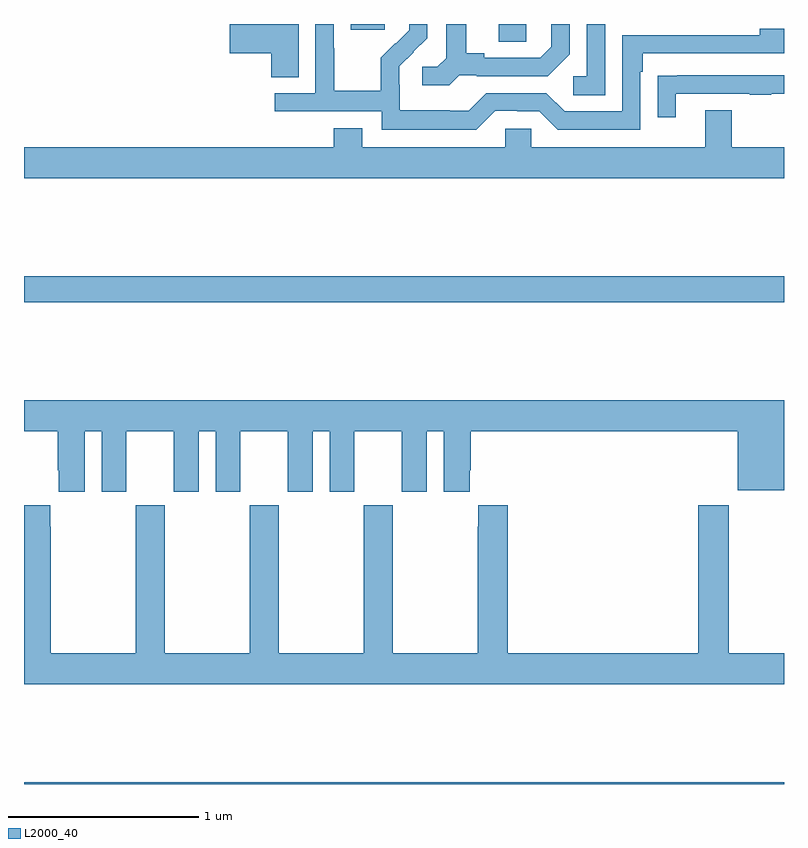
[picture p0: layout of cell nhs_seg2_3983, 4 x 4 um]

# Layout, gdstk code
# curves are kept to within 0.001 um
import gdstk
lib = gdstk.Library(unit=1e-6, precision=1e-09)
def R(c, l, rs):  # rectangles x0, y0, x1, y1
    for r in rs: c.add(gdstk.rectangle(r[:2], r[2:], *l))
def P(c, l, *ps):  # polygons
    for p in ps: c.add(gdstk.Polygon(p, *l))
L2000_40 = (2000, 40)

nhs_seg2_3983 = lib.new_cell('nhs_seg2_3983')
R(nhs_seg2_3983, L2000_40, [(323,625.8,327,625.808), (323,628.336,327,628.472), (325.499,629.707,325.644,629.8), (324.719,629.769,324.898,629.8)])
P(nhs_seg2_3983, L2000_40, [(325.29,629.529),(325.384,629.529),(325.384,629.526),(325.756,629.526),(325.872,629.642),(325.872,629.8),(325.775,629.8),(325.775,629.679),(325.718,629.622),(325.423,629.622),(325.423,629.645),(325.327,629.645),(325.327,629.8),(325.223,629.8),(325.223,629.621),(325.176,629.574),(325.095,629.574),(325.095,629.477),(325.238,629.477)],
  [(326.058,629.8),(325.962,629.8),(325.962,629.526),(325.89,629.526),(325.89,629.425),(326.058,629.425)],
  [(325.479,629.343),(325.595,629.343),(325.595,629.34),(325.713,629.34),(325.809,629.244),(326.244,629.244),(326.244,629.549),(326.257,629.549),(326.257,629.646),(327,629.646),(327,629.776),(326.873,629.776),(326.873,629.742),(326.148,629.742),(326.148,629.34),(325.845,629.34),(325.749,629.436),(325.434,629.436),(325.341,629.343),(325.241,629.343),(325.241,629.347),(324.978,629.347),(324.978,629.481),(324.976,629.481),(324.976,629.578),(325.122,629.726),(325.122,629.8),(325.028,629.8),(325.028,629.768),(324.957,629.697),(324.954,629.7),(324.877,629.623),(324.877,629.449),(324.633,629.449),(324.633,629.672),(324.63,629.672),(324.63,629.8),(324.534,629.8),(324.534,629.436),(324.321,629.436),(324.321,629.34),(324.882,629.34),(324.882,629.243),(325.379,629.243)],
  [(324.445,629.8),(324.084,629.8),(324.084,629.645),(324.302,629.645),(324.302,629.521),(324.445,629.521)],
  [(326.431,629.433),(326.821,629.433),(326.821,629.428),(326.933,629.428),(326.933,629.433),(327,629.433),(327,629.529),(326.437,629.529),(326.437,629.528),(326.335,629.528),(326.335,629.31),(326.431,629.31)],
  [(325.533,629.25),(325.533,629.152),(324.781,629.152),(324.781,629.251),(324.629,629.251),(324.629,629.152),(323,629.152),(323,628.988),(327,628.988),(327,629.152),(326.725,629.152),(326.725,629.347),(326.585,629.347),(326.585,629.152),(325.671,629.152),(325.671,629.25)],
  [(323.32,627.656),(323.408,627.656),(323.408,627.339),(323.539,627.339),(323.539,627.656),(323.789,627.656),(323.789,627.339),(323.92,627.339),(323.92,627.656),(324.008,627.656),(324.008,627.339),(324.139,627.339),(324.139,627.656),(324.389,627.656),(324.389,627.339),(324.52,627.339),(324.52,627.656),(324.608,627.656),(324.608,627.339),(324.739,627.339),(324.739,627.656),(324.989,627.656),(324.989,627.339),(325.12,627.339),(325.12,627.656),(325.208,627.656),(325.208,627.339),(325.345,627.339),(325.345,627.451),(325.352,627.451),(325.352,627.656),(326.756,627.656),(326.756,627.347),(327,627.347),(327,627.82),(323,627.82),(323,627.656),(323.177,627.656),(323.177,627.451),(323.183,627.451),(323.183,627.339),(323.32,627.339)],
  [(327,626.488),(326.709,626.488),(326.709,627.268),(326.549,627.268),(326.549,626.488),(325.547,626.488),(325.547,627.268),(325.391,627.268),(325.391,627.155),(325.387,627.155),(325.387,626.488),(324.942,626.488),(324.942,627.268),(324.787,627.268),(324.787,626.488),(324.342,626.488),(324.342,627.268),(324.187,627.268),(324.187,626.488),(323.742,626.488),(323.742,627.268),(323.587,627.268),(323.587,626.488),(323.142,626.488),(323.142,627.155),(323.137,627.155),(323.137,627.268),(323,627.268),(323,626.324),(327,626.324)])

lib.write_gds('nhs_seg2_3983.gds')
